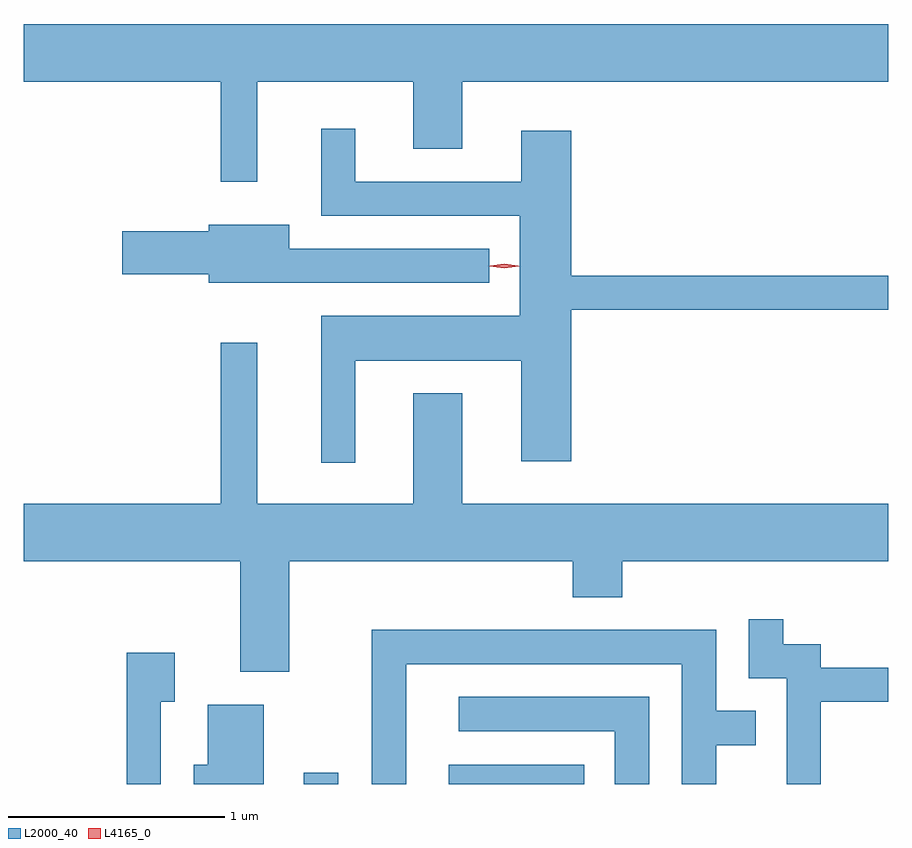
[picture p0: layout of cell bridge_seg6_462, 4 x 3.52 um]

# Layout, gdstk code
import gdstk
lib = gdstk.Library(unit=1e-6, precision=1e-09)
def R(c, l, rs):  # rectangles x0, y0, x1, y1
    for r in rs: c.add(gdstk.rectangle(r[:2], r[2:], *l))
def P(c, l, *ps):  # polygons
    for p in ps: c.add(gdstk.Polygon(p, *l))
L2000_40 = (2000, 40)
L4165_0 = (4165, 0)

bridge_seg6_462 = lib.new_cell('bridge_seg6_462')
R(bridge_seg6_462, L2000_40, [(616.446,1580.086,616.604,1580.138), (617.116,1580.086,617.743,1580.174)])
P(bridge_seg6_462, L2000_40, [(616.229,1583.336),(616.951,1583.336),(616.951,1583.026),(617.179,1583.026),(617.179,1583.336),(619.15,1583.336),(619.15,1583.604),(615.15,1583.604),(615.15,1583.336),(616.061,1583.336),(616.061,1582.873),(616.229,1582.873)],
  [(616.684,1582.046),(617.451,1582.046),(617.451,1581.581),(617.684,1581.581),(617.684,1582.281),(619.15,1582.281),(619.15,1582.439),(617.684,1582.439),(617.684,1583.109),(617.451,1583.109),(617.451,1582.874),(616.684,1582.874),(616.684,1583.118),(616.526,1583.118),(616.526,1582.716),(617.446,1582.716),(617.446,1582.254),(616.526,1582.254),(616.526,1581.573),(616.684,1581.573)],
  [(617.303,1582.564),(616.379,1582.564),(616.379,1582.674),(616.006,1582.674),(616.006,1582.644),(615.606,1582.644),(615.606,1582.446),(616.006,1582.446),(616.006,1582.406),(617.303,1582.406)],
  [(616.379,1581.116),(617.691,1581.116),(617.691,1580.951),(617.919,1580.951),(617.919,1581.116),(619.15,1581.116),(619.15,1581.384),(617.179,1581.384),(617.179,1581.894),(616.951,1581.894),(616.951,1581.384),(616.229,1581.384),(616.229,1582.128),(616.061,1582.128),(616.061,1581.384),(615.15,1581.384),(615.15,1581.116),(616.151,1581.116),(616.151,1580.606),(616.379,1580.606)],
  [(618.839,1580.466),(619.15,1580.466),(619.15,1580.624),(618.839,1580.624),(618.839,1580.734),(618.664,1580.734),(618.664,1580.848),(618.506,1580.848),(618.506,1580.576),(618.681,1580.576),(618.681,1580.086),(618.839,1580.086)],
  [(616.919,1580.641),(618.196,1580.641),(618.196,1580.086),(618.354,1580.086),(618.354,1580.266),(618.538,1580.266),(618.538,1580.424),(618.354,1580.424),(618.354,1580.799),(616.761,1580.799),(616.761,1580.086),(616.919,1580.086)],
  [(615.784,1580.466),(615.849,1580.466),(615.849,1580.694),(615.626,1580.694),(615.626,1580.086),(615.784,1580.086)],
  [(618.044,1580.489),(617.163,1580.489),(617.163,1580.331),(617.886,1580.331),(617.886,1580.086),(618.044,1580.086)],
  [(616.259,1580.454),(616.001,1580.454),(616.001,1580.174),(615.936,1580.174),(615.936,1580.086),(616.259,1580.086)])
P(bridge_seg6_462, L4165_0, [(617.373,1582.475),(617.308,1582.484),(617.307,1582.485),(617.308,1582.485),(617.373,1582.495),(617.438,1582.485),(617.439,1582.485),(617.438,1582.484)],
  [(617.373,1582.473),(617.304,1582.482),(617.304,1582.483),(617.304,1582.483),(617.373,1582.493),(617.442,1582.483),(617.443,1582.483),(617.442,1582.482)])

lib.write_gds('bridge_seg6_462.gds')
